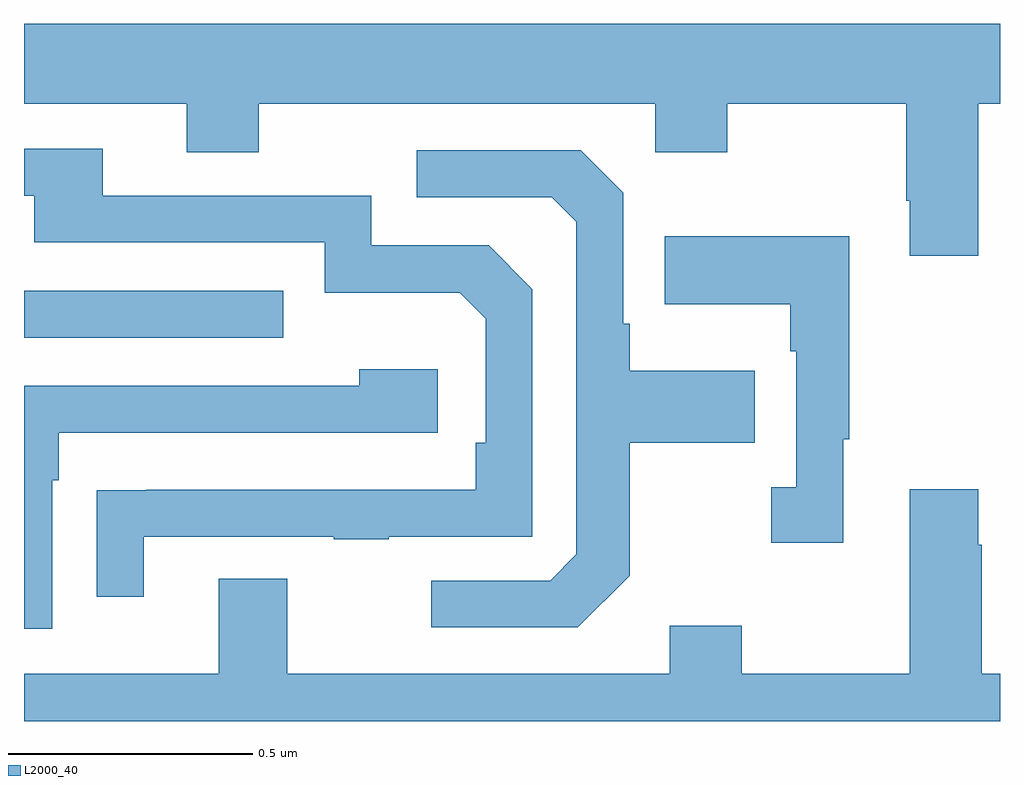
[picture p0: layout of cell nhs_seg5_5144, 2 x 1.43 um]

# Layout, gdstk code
import gdstk
lib = gdstk.Library(unit=1e-6, precision=1e-09)
def R(c, l, rs):  # rectangles x0, y0, x1, y1
    for r in rs: c.add(gdstk.rectangle(r[:2], r[2:], *l))
def P(c, l, *ps):  # polygons
    for p in ps: c.add(gdstk.Polygon(p, *l))
L2000_40 = (2000, 40)

nhs_seg5_5144 = lib.new_cell('nhs_seg5_5144')
R(nhs_seg5_5144, L2000_40, [(179,885.585,179.531,885.681)])
P(nhs_seg5_5144, L2000_40, [(179,886.064),(179.333,886.064),(179.333,885.965),(179.481,885.965),(179.481,886.064),(180.294,886.064),(180.294,885.965),(180.441,885.965),(180.441,886.064),(180.808,886.064),(180.808,885.865),(180.815,885.865),(180.815,885.753),(180.955,885.753),(180.955,886.064),(181,886.064),(181,886.228),(179,886.228)],
  [(179.245,885.177),(179.635,885.177),(179.635,885.172),(179.747,885.172),(179.747,885.177),(180.042,885.177),(180.042,885.684),(179.952,885.774),(179.712,885.774),(179.712,885.876),(179.161,885.876),(179.161,885.972),(179,885.972),(179,885.876),(179.021,885.876),(179.021,885.78),(179.616,885.78),(179.616,885.677),(179.893,885.677),(179.946,885.624),(179.946,885.37),(179.926,885.37),(179.926,885.273),(179.251,885.273),(179.251,885.272),(179.149,885.272),(179.149,885.054),(179.245,885.054)],
  [(180.241,885.097),(180.241,885.37),(180.497,885.37),(180.497,885.517),(180.241,885.517),(180.241,885.613),(180.228,885.613),(180.228,885.882),(180.141,885.969),(179.805,885.969),(179.805,885.873),(180.081,885.873),(180.132,885.822),(180.132,885.141),(180.078,885.087),(179.835,885.087),(179.835,884.991),(180.135,884.991)],
  [(180.679,885.377),(180.691,885.377),(180.691,885.793),(180.313,885.793),(180.313,885.653),(180.57,885.653),(180.57,885.557),(180.582,885.557),(180.582,885.278),(180.531,885.278),(180.531,885.165),(180.679,885.165)],
  [(179.058,885.293),(179.071,885.293),(179.071,885.39),(179.848,885.39),(179.848,885.52),(179.687,885.52),(179.687,885.486),(179,885.486),(179,884.988),(179.058,884.988)],
  [(181,884.896),(180.963,884.896),(180.963,885.161),(180.955,885.161),(180.955,885.274),(180.815,885.274),(180.815,884.896),(180.471,884.896),(180.471,884.995),(180.323,884.995),(180.323,884.896),(179.539,884.896),(179.539,885.091),(179.399,885.091),(179.399,884.896),(179,884.896),(179,884.799),(181,884.799)])

lib.write_gds('nhs_seg5_5144.gds')
